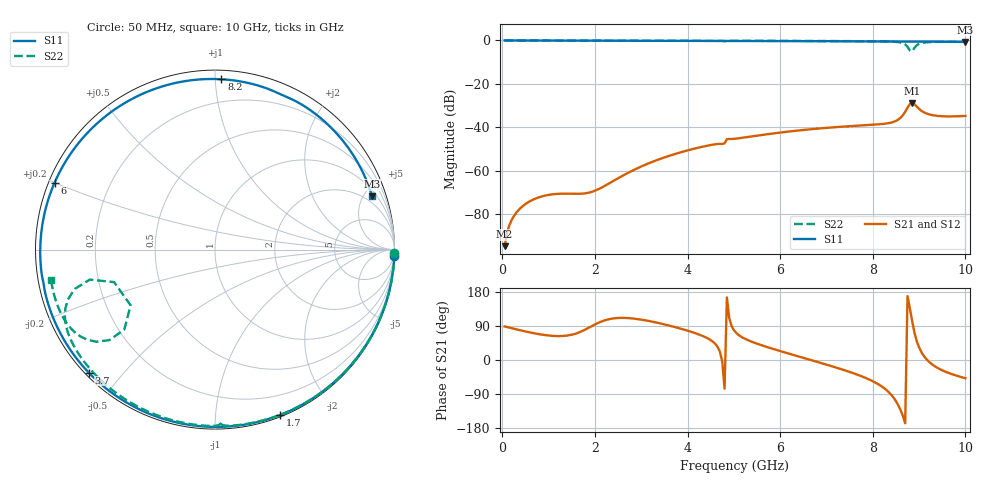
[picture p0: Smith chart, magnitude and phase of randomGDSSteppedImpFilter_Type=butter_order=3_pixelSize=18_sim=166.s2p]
! freq	dB(S11)	phase(S11)	dB(S12)	phase(S12)
!  dB(S21)	phase(S21)	dB(S22)	phase(S22)
!S-par simulation data
#  GHz  S  DB  R 50
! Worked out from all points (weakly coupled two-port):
!   200 points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, 50 MHz to 10 GHz, reference 50 ohm
!   highest |S21| = -28.74 dB at 8.85 GHz (marker M1); lowest = -94.7 dB at 50 MHz (marker M2)
!   lowest |S11| = -0.7 dB at 10 GHz (marker M3), VSWR 25.49, Z = 69.9 + j286 ohm
!   |S11| at or under -10 dB: nowhere
!   |S22| runs from -5.0 to 0.0 dB; largest |S21 - S12| = 0
!   S11 on the Smith chart (normalised r, x): 50 MHz: 0, -54; 1.7 GHz: 0.02, -1.47; 3.7 GHz: 0.01, -0.41; 6 GHz: 0.02, +0.20; 8.2 GHz: 0.05, +1.04; 10 GHz: 1.40, +5.72
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0.05  -0.00 -2.1  -94.74 88.6  -94.74 88.6  -0.00 -1.0
0.25  -0.01 -10.5  -80.91 82.4  -80.91 82.4  -0.01 -4.9
0.55  -0.03 -23.0  -74.64 74.0  -74.64 74.0  -0.01 -10.7
0.85  -0.05 -35.4  -71.86 67.0  -71.86 67.0  -0.02 -16.4
1.7  -0.08 -68.6  -70.58 74.9  -70.58 74.9  -0.04 -32.6
1.75  -0.09 -70.5  -70.50 77.7  -70.50 77.7  -0.04 -33.6
2.55  -0.12 -98.9  -62.86 111.1  -62.86 111.1  -0.06 -48.4
3.4  -0.15 -126.5  -54.63 96.9  -54.63 96.9  -0.08 -63.7
3.7  -0.16 -135.7  -52.49 87.8  -52.49 87.8  -0.09 -69.0
5.05  -0.22 -175.2  -45.20 71.7  -45.20 71.7  -0.15 -91.6
6  -0.28 157.3  -42.42 23.6  -42.42 23.6  -0.19 -107.5
6.7  -0.33 136.5  -40.81 -1.4  -40.81 -1.4  -0.24 -119.0
7.5  -0.39 111.4  -39.48 -31.4  -39.48 -31.4  -0.31 -132.4
8.2  -0.45 87.8  -38.49 -70.2  -38.49 -70.2  -0.43 -145.8
8.35  -0.46 82.6  -38.05 -85.5  -38.05 -85.5  -0.50 -149.5
8.65  -0.51 71.8  -34.42 -147.6  -34.42 -147.6  -1.26 -161.3
8.75  -0.54 68.2  -31.00 168.5  -31.00 168.5  -2.89 -166.5
8.85  -0.54 64.8  -28.74 103.0  -28.74 103.0  -4.99 -146.6
8.9  -0.53 62.9  -29.37 72.5  -29.37 72.5  -3.43 -138.6
9  -0.52 59.1  -31.53 33.3  -31.53 33.3  -1.55 -142.1
9.35  -0.56 45.5  -34.62 -17.3  -34.62 -17.3  -0.67 -155.3
10  -0.68 18.8  -34.76 -48.1  -34.76 -48.1  -0.64 -169.7
